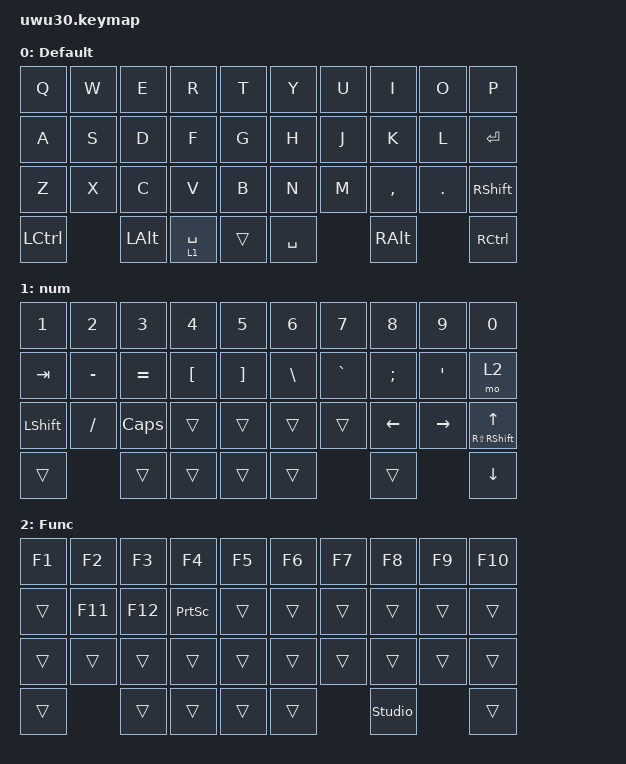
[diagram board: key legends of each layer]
/*
 * Copyright (c) 2023 The ZMK Contributors
 *
 * SPDX-License-Identifier: MIT
 */

#include <behaviors.dtsi>
#include <dt-bindings/zmk/keys.h>

/ {
    combos {
        compatible = "zmk,combos";

        Backspace {
            bindings = <&kp BACKSPACE>;
            key-positions = <8 9>;
        };

        Escape {
            bindings = <&kp ESC>;
            key-positions = <0 1>;
        };
    };
};

&mt {
    flavor = "balanced";
    tapping-term-ms = <150>;
};

&lt {
    flavor = "tap-unless-interrupted";
    tapping-term-ms = <3000>;
};

/ {
    keymap {
        compatible = "zmk,keymap";

        Default {
            bindings = <
&kp Q             &kp W  &kp E         &kp R        &kp T   &kp Y      &kp U  &kp I          &kp O       &kp P
&kp A             &kp S  &kp D         &kp F        &kp G   &kp H      &kp J  &kp K          &kp L       &kp ENTER
&kp Z             &kp X  &kp C         &kp V        &kp B   &kp N      &kp M  &kp COMMA      &kp PERIOD  &kp RIGHT_SHIFT
&kp LEFT_CONTROL         &kp LEFT_ALT  &lt 1 SPACE  &trans  &kp SPACE         &kp RIGHT_ALT              &kp RIGHT_CONTROL
            >;
        };

        num {
            bindings = <
&kp N1     &kp N2     &kp N3     &kp N4    &kp N5    &kp N6    &kp N7     &kp N8    &kp N9     &kp N0
&kp TAB    &kp MINUS  &kp EQUAL  &kp LBKT  &kp RBKT  &kp BSLH  &kp GRAVE  &kp SEMI  &kp APOS   &mo 2
&kp LSHFT  &kp FSLH   &kp CAPS   &trans    &trans    &trans    &trans     &kp LEFT  &kp RIGHT  &mt RS(RIGHT_SHIFT) UP_ARROW
&trans                &trans     &trans    &trans    &trans               &trans               &kp DOWN
            >;
        };

        Func {
            bindings = <
&kp F1  &kp F2   &kp F3   &kp F4           &kp F5  &kp F6  &kp F7  &kp F8          &kp F9  &kp F10
&trans  &kp F11  &kp F12  &kp PRINTSCREEN  &trans  &trans  &trans  &trans          &trans  &trans
&trans  &trans   &trans   &trans           &trans  &trans  &trans  &trans          &trans  &trans
&trans           &trans   &trans           &trans  &trans          &studio_unlock          &trans
            >;
        };
    };
};
